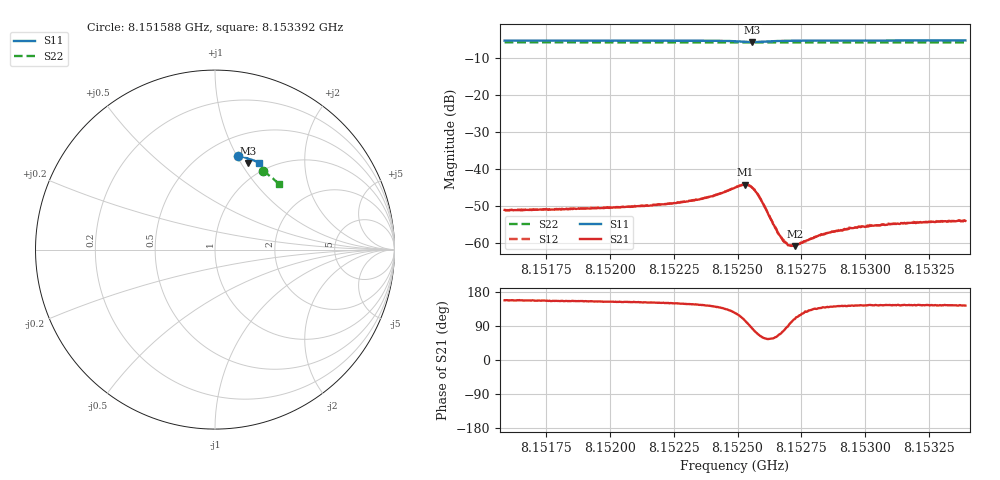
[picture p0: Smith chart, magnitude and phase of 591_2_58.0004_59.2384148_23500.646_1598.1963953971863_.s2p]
#  HZ  S  RI  R  50.00
! Rohde & Schwarz Vector Network Analyzer
! Rohde-Schwarz,ZNB20-2Port,1311601062101988,3.16
! Created: UTC 3/21/2024, 1:16:49 AM
! freq[Hz]  re:S11  im:S11  re:S21  im:S21  re:S12  im:S12  re:S22  im:S22
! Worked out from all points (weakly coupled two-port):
!   401 points, 8.151588 GHz to 8.153392 GHz, reference 50 ohm
!   highest |S21| = -44.17 dB at 8.152531 GHz (marker M1); lowest = -60.7 dB at 8.152725 GHz (marker M2)
!   lowest |S11| = -5.7 dB at 8.152558 GHz (marker M3), VSWR 3.13, Z = 40.8 + j53.6 ohm
!   |S11| at or under -10 dB: nowhere
!   |S22| runs from -5.8 to -5.8 dB; largest |S21 - S12| = 0.00013
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8.1515881e9  0.1298 0.5241  -0.0026 0.00107  -0.00261 0.00111  0.2651 0.4385
8.1518903e9  0.1509 0.5189  -0.00267 0.00122  -0.00265 0.0013  0.2813 0.4278
8.1521924e9  0.1728 0.5122  -0.00292 0.00162  -0.00291 0.00168  0.2969 0.4166
8.1523502e9  0.1852 0.5065  -0.0032 0.00221  -0.00325 0.00228  0.3051 0.4103
8.1524224e9  0.1919 0.5018  -0.00348 0.00294  -0.00346 0.00304  0.3088 0.4075
8.15249e9  0.1966 0.4919  -0.00318 0.00466  -0.00313 0.00475  0.312 0.4044
8.1525306e9  0.1922 0.4829  -0.00139 0.00603  -0.00135 0.00608  0.3136 0.4026
8.1525441e9  0.1881 0.4815  -0.000342 0.006  -0.000277 0.00607  0.314 0.4022
8.1525577e9  0.1835 0.4823  0.000666 0.00557  0.000751 0.0056  0.3144 0.4017
8.1525712e9  0.1801 0.4851  0.00142 0.00477  0.00153 0.00481  0.315 0.4014
8.1525892e9  0.1784 0.4902  0.0018 0.00355  0.00184 0.00357  0.3159 0.4008
8.1526478e9  0.1848 0.5002  0.000797 0.00139  0.000857 0.00142  0.3191 0.3988
8.1526704e9  0.188 0.5014  0.000403 0.00113  0.000427 0.00114  0.3203 0.3979
8.1526884e9  0.1904 0.5018  0.000116 0.00101  0.000146 0.00102  0.3211 0.3972
8.152702e9  0.192 0.502  -6.44e-05 0.000937  -4.22e-05 0.000961  0.3219 0.3967
8.1527245e9  0.1947 0.5019  -0.000287 0.000875  -0.000309 0.000891  0.3231 0.3958
8.1527921e9  0.2011 0.501  -0.000804 0.000855  -0.000791 0.000855  0.3265 0.3929
8.1528372e9  0.2052 0.5001  -0.000994 0.000865  -0.000998 0.000891  0.3287 0.3911
8.1529455e9  0.2136 0.4973  -0.00129 0.000953  -0.00128 0.000971  0.3338 0.3865
8.1530943e9  0.2242 0.4933  -0.0015 0.00103  -0.00148 0.00106  0.3408 0.38
8.153198e9  0.2312 0.4904  -0.00152 0.00109  -0.00153 0.00112  0.3456 0.3754
8.1533919e9  0.2437 0.4847  -0.00162 0.00119  -0.0016 0.00122  0.3545 0.3669
